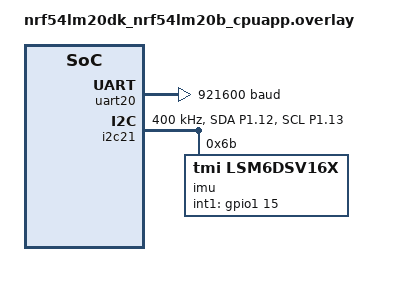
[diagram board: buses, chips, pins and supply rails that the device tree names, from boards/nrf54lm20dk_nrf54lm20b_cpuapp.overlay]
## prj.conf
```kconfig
CONFIG_SHELL=y
CONFIG_LOG=y

CONFIG_I2C=y
CONFIG_I2C_SHELL=y

CONFIG_SENSOR=y
CONFIG_SENSOR_SHELL=y
CONFIG_SENSOR_SHELL_STREAM=y
CONFIG_SENSOR_INFO=y


# Read the INT1 line directly ("gpio get gpio@d8200 14") to tell a sensor that
# never asserts INT1 apart from an MCU that never sees the edge.
CONFIG_GPIO_SHELL=y

# lsm6dsv16x_config_drdy() and lsm6dsv16x_config_fifo() ignore every I2C return
# code, so a failed interrupt-route write is silent. Raise this to DBG to see
# the driver's LOG_DBG calls; at DBG the sensor shell logs one line per channel
# per frame, which at any real ODR floods the console and drops messages.
CONFIG_SENSOR_LOG_LEVEL_INF=y

# The sample owns the stream, so the shell's `sensor stream` would fight it for
# the driver's single streaming_sqe. i2c/gpio commands stay useful though.
#
# But the shell log backend redraws its prompt around every log line, wrapping
# each one in ~30 bytes of escapes that the plotter cannot parse -- and the
# synchronous redraw caps throughput near 17 lines/s. Log straight to the UART.
CONFIG_SHELL_LOG_BACKEND=n
CONFIG_LOG_BACKEND_UART=y

# ~480 LOG_PRINTK lines/s. Immediate mode never drops a sample, which deferred
# mode does once the ring fills -- a dropped line is a gap in the plot.
CONFIG_LOG_MODE_IMMEDIATE=y

# process() holds three decode structs and emit() hands LOG_PRINTK 27 varargs,
# which cbprintf formats on the caller's stack in immediate mode. The default
# blew the main stack and faulted after the first FIFO frame.
CONFIG_MAIN_STACK_SIZE=4096
```

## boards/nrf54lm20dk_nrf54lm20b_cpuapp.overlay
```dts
#include <zephyr/dt-bindings/i2c/i2c.h>
#include <zephyr/dt-bindings/sensor/lsm6dsv16x.h>

/*
 * The sensor is wired to P1.12 (SDA) / P1.13 (SCL), with INT1 on P1.15. On
 * nRF54L a peripheral can only reach GPIOs in its own power domain, and TWIM30
 * (i2c@104000) sits in the same domain as P0/gpiote30 -- it cannot drive P1 at
 * all. i2c20 would reach P1 but shares 0xc6000 with uart20, the console. Hence
 * i2c21 (0xc7000).
 *
 * P1.12 and P1.13 are shared with the part's SPI SDI and SPC. P1.14 is SDO,
 * which in I2C mode is the SA0 address bit -- left floating high by the board,
 * hence reg 0x6b rather than 0x6a. See ../../lsm6dsv16x_spi for the SPI wiring
 * of the same part.
 */

&pinctrl {
	i2c21_default: i2c21_default {
		group1 {
			psels = <NRF_PSEL(TWIM_SDA, 1, 12)>,
				<NRF_PSEL(TWIM_SCL, 1, 13)>;
		};
	};

	i2c21_sleep: i2c21_sleep {
		group1 {
			psels = <NRF_PSEL(TWIM_SDA, 1, 12)>,
				<NRF_PSEL(TWIM_SCL, 1, 13)>;
			low-power-enable;
		};
	};
};

&uart20 {
	current-speed = <921600>;
};

&i2c21 {
	status = "okay";
	clock-frequency = <I2C_BITRATE_FAST>;
	pinctrl-0 = <&i2c21_default>;
	pinctrl-1 = <&i2c21_sleep>;
	pinctrl-names = "default", "sleep";

	imu: lsm6dsv16x@6b {
		compatible = "tmi,lsm6dsv16x";
		reg = <0x6b>;
		label = "imu";

		/* 7680Hz overruns the 400kHz bus and wedges the driver's stream. */
		accel-odr = <LSM6DSVXXX_DT_ODR_AT_3840Hz>;
		accel-range = <LSM6DSV16X_DT_FS_16G>;
		gyro-odr = <LSM6DSVXXX_DT_ODR_AT_15Hz>;
		/* Max the WTM field holds: 255 accel samples per interrupt. */
		fifo-watermark = <255>;
		/* Batched at the ODR, so the FIFO keeps every sample. */
		accel-fifo-batch-rate = <LSM6DSVXXX_DT_XL_BATCHED_AT_3840Hz>;
		gyro-fifo-batch-rate = <LSM6DSVXXX_DT_GY_NOT_BATCHED>;
		temp-fifo-batch-rate = <LSM6DSVXXX_DT_TEMP_NOT_BATCHED>;

		int1-gpios = <&gpio1 15 GPIO_ACTIVE_HIGH>;

		/* Latched DRDY can rise before the GPIO is armed, losing the edge. */
		drdy-pulsed;
	};
};
```

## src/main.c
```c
/*
 * SPDX-License-Identifier: Apache-2.0
 *
 * Batch processing from the LSM6DSV16X FIFO. The accelerometer is batched at
 * its ODR and the watermark is maxed, so one interrupt delivers 255 samples.
 * Each batch is decoded, low-pass filtered, and printed as raw vs filtered.
 */

#include <zephyr/device.h>
#include <zephyr/drivers/sensor.h>
#include <zephyr/kernel.h>
#include <zephyr/logging/log.h>
#include <zephyr/rtio/rtio.h>

LOG_MODULE_REGISTER(imu_batch, LOG_LEVEL_INF);

#define IMU_NODE     DT_NODELABEL(imu)
#define PRINT_EVERY  16 /* the UART cannot carry 3840 lines/s */
#define DECODE_CHUNK 32

/* Cutoff = accel ODR / (2^LPF_SHIFT * 2pi) ~= 4.8Hz at 3840Hz. Retune with the ODR. */
#define LPF_SHIFT 7
/* Extra fractional bits, or the shift truncates to zero and the filter stalls. */
#define LPF_FRAC  8

SENSOR_DT_STREAM_IODEV(imu_fifo, IMU_NODE,
		       {SENSOR_TRIG_FIFO_WATERMARK, SENSOR_STREAM_DATA_INCLUDE});

RTIO_DEFINE_WITH_MEMPOOL(imu_rtio, 4, 4, 64, 256, sizeof(void *));

static const struct sensor_chan_spec accel_chan = {SENSOR_CHAN_ACCEL_XYZ, 0};

/* Union with the struct so the decoder's uint64_t timestamp lands aligned. */
static union {
	struct sensor_three_axis_data data;
	uint8_t bytes[sizeof(struct sensor_three_axis_data) +
		      (DECODE_CHUNK - 1) * sizeof(struct sensor_three_axis_sample_data)];
} chunk;

static int32_t q31_to_milli(q31_t q, int8_t shift)
{
	return (int32_t)(((int64_t)q * 1000) >> (31 - shift));
}

static void low_pass(const int32_t in[3], int32_t out[3])
{
	static int32_t state[3];
	static bool primed;

	for (int i = 0; i < 3; i++) {
		if (primed) {
			state[i] += ((in[i] << LPF_FRAC) - state[i]) >> LPF_SHIFT;
		} else {
			state[i] = in[i] << LPF_FRAC;
		}
		out[i] = state[i] >> LPF_FRAC;
	}

	primed = true;
}

#define MILLI_FMT "%s%d.%03d"
#define MILLI_ARG(m)                                                                               \
	((m) < 0 ? "-" : ""), (int)(((m) < 0 ? -(m) : (m)) / 1000),                                \
		(int)(((m) < 0 ? -(m) : (m)) % 1000)

static void print_sample(const int32_t raw[3], const int32_t lpf[3], uint16_t batch)
{
	LOG_PRINTK("raw_x:" MILLI_FMT ",raw_y:" MILLI_FMT ",raw_z:" MILLI_FMT ",lpf_x:" MILLI_FMT
		   ",lpf_y:" MILLI_FMT ",lpf_z:" MILLI_FMT ",n:%u\n",
		   MILLI_ARG(raw[0]), MILLI_ARG(raw[1]), MILLI_ARG(raw[2]), MILLI_ARG(lpf[0]),
		   MILLI_ARG(lpf[1]), MILLI_ARG(lpf[2]), batch);
}

static void process_batch(const struct sensor_decoder_api *dec, uint8_t *buf)
{
	static uint32_t seq;
	uint16_t batch = 0;
	uint32_t fit = 0;
	int n;

	if (dec->get_frame_count(buf, accel_chan, &batch) != 0) {
		return;
	}

	while ((n = dec->decode(buf, accel_chan, &fit, DECODE_CHUNK, &chunk.data)) > 0) {
		for (int i = 0; i < n; i++) {
			int32_t raw[3] = {
				q31_to_milli(chunk.data.readings[i].x, chunk.data.shift),
				q31_to_milli(chunk.data.readings[i].y, chunk.data.shift),
				q31_to_milli(chunk.data.readings[i].z, chunk.data.shift),
			};
			int32_t lpf[3];

			low_pass(raw, lpf);

			if (++seq % PRINT_EVERY == 0) {
				print_sample(raw, lpf, batch);
			}
		}
	}
}

int main(void)
{
	const struct device *dev = DEVICE_DT_GET(IMU_NODE);
	const struct sensor_decoder_api *dec;
	struct rtio_sqe *handle;
	int rc;

	if (!device_is_ready(dev)) {
		LOG_ERR("%s not ready", dev->name);
		return 0;
	}

	rc = sensor_get_decoder(dev, &dec);
	if (rc != 0) {
		LOG_ERR("sensor_get_decoder: %d", rc);
		return 0;
	}

	rc = sensor_stream(&imu_fifo, &imu_rtio, NULL, &handle);
	if (rc != 0) {
		LOG_ERR("sensor_stream: %d", rc);
		return 0;
	}

	while (true) {
		struct rtio_cqe *cqe = rtio_cqe_consume_block(&imu_rtio);
		uint8_t *buf;
		uint32_t buf_len;

		if (cqe->result != 0) {
			LOG_ERR("stream read: %d", cqe->result);
			rtio_cqe_release(&imu_rtio, cqe);
			continue;
		}

		rc = rtio_cqe_get_mempool_buffer(&imu_rtio, cqe, &buf, &buf_len);
		rtio_cqe_release(&imu_rtio, cqe);
		if (rc != 0) {
			continue;
		}

		process_batch(dec, buf);
		rtio_release_buffer(&imu_rtio, buf, buf_len);
	}

	return 0;
}
```
